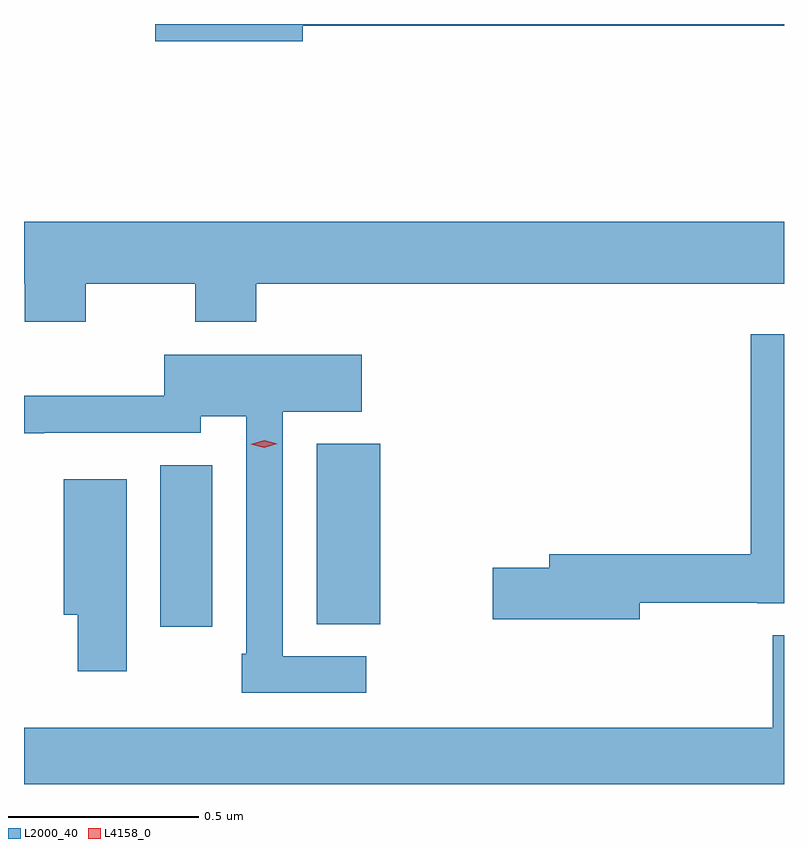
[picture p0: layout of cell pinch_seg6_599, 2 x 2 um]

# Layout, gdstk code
import gdstk
lib = gdstk.Library(unit=1e-6, precision=1e-09)
def R(c, l, rs):  # rectangles x0, y0, x1, y1
    for r in rs: c.add(gdstk.rectangle(r[:2], r[2:], *l))
def P(c, l, *ps):  # polygons
    for p in ps: c.add(gdstk.Polygon(p, *l))
L2000_40 = (2000, 40)
L4158_0 = (4158, 0)

pinch_seg6_599 = lib.new_cell('pinch_seg6_599')
R(pinch_seg6_599, L2000_40, [(615.344,962.418,615.481,962.843), (615.755,962.425,615.922,962.899)])
P(pinch_seg6_599, L2000_40, [(615.718,964),(616.985,964),(616.985,964.004),(615.33,964.004),(615.33,963.958),(615.718,963.958)],
  [(615.147,963.32),(615.436,963.32),(615.436,963.221),(615.596,963.221),(615.596,963.32),(616.985,963.32),(616.985,963.484),(614.985,963.484),(614.985,963.32),(614.987,963.32),(614.987,963.221),(615.147,963.221)],
  [(616.606,962.481),(616.914,962.481),(616.914,962.48),(616.985,962.48),(616.985,963.187),(616.898,963.187),(616.898,962.609),(616.367,962.609),(616.367,962.573),(616.218,962.573),(616.218,962.438),(616.606,962.438)],
  [(615.886,962.34),(615.666,962.34),(615.666,962.984),(615.874,962.984),(615.874,963.133),(615.354,963.133),(615.354,963.026),(614.985,963.026),(614.985,962.927),(615.038,962.927),(615.038,962.928),(615.45,962.928),(615.45,962.972),(615.57,962.972),(615.57,962.347),(615.558,962.347),(615.558,962.244),(615.886,962.244)],
  [(615.256,962.806),(615.089,962.806),(615.089,962.45),(615.127,962.45),(615.127,962.301),(615.256,962.301)],
  [(616.985,962.395),(616.955,962.395),(616.955,962.152),(614.985,962.152),(614.985,962.004),(616.985,962.004)])
P(pinch_seg6_599, L4158_0, [(615.617,962.889),(615.582,962.898),(615.582,962.898),(615.582,962.898),(615.617,962.909),(615.652,962.899),(615.652,962.899),(615.652,962.899)])

lib.write_gds('pinch_seg6_599.gds')
